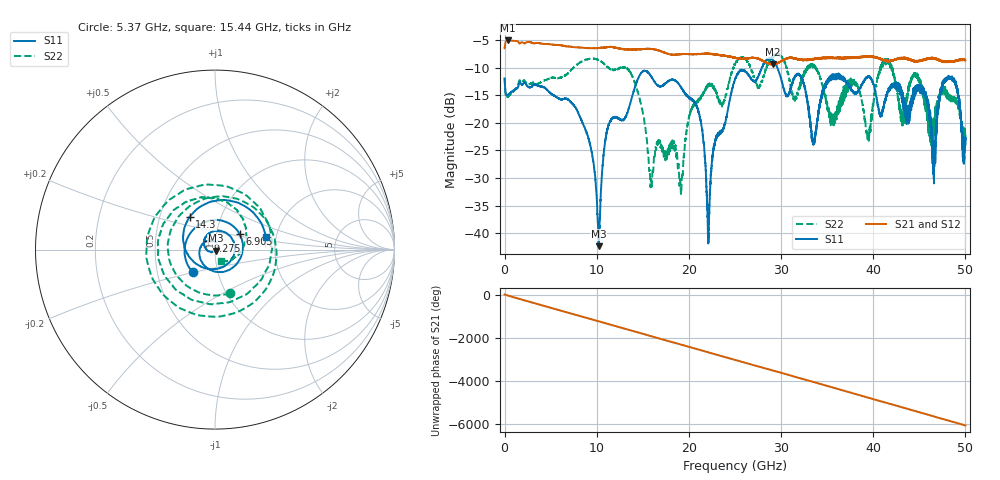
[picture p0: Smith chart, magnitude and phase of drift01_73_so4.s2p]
!Created with skrf (http://scikit-rf.org).
# Hz S RI R 50.0
!freq ReS11 ImS11 ReS21 ImS21 ReS12 ImS12 ReS22 ImS22
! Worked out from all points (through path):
!   10001 points, 300 kHz to 50 GHz, reference 50 ohm
!   highest |S21| = -5.05 dB at 335.3 MHz (marker M1); lowest = -9.4 dB at 29.11 GHz (marker M2)
!   group delay of S21, straight-line fit = 336 ps
!   lowest |S11| = -42.4 dB at 10.22 GHz (marker M3), VSWR 1.02, Z = 50.5 - j0.608 ohm
!   |S11| at or under -10 dB: start of sweep to 27.9 GHz; 29.5926 GHz to 29.59979 GHz (7.194 MHz wide, 0.0243 % of centre); 29.6 GHz to end of sweep
!   |S22| runs from -32.9 to -7.4 dB; largest |S21 - S12| = 0.014
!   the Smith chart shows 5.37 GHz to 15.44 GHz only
!   S11 on the Smith chart (normalised r, x): 5.37 GHz: 0.76, -0.20; 6.905 GHz: 1.30, +0.23; 9.275 GHz: 0.92, +0.09; 14.3 GHz: 0.71, +0.27; 15.44 GHz: 1.77, +0.26
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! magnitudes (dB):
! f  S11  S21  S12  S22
! 300 kHz  -12.0  -6.5  -6.5  -11.8
! 335.3 MHz  -15.0  -5.1  -5.1  -15.2
! 5.37 GHz  -15.0  -5.9  -5.9  -11.8
! 6.905 GHz  -15.8  -6.1  -6.1  -11.0
! 8.335 GHz  -19.5  -6.4  -6.3  -8.9
! 9.275 GHz  -24.0  -6.4  -6.4  -8.3
! 10.22 GHz  -42.4  -6.4  -6.4  -8.6
! 11.23 GHz  -20.7  -6.2  -6.3  -9.9
! 14.3 GHz  -12.8  -6.7  -6.7  -13.5
! 15.44 GHz  -10.7  -6.6  -6.6  -23.0
! 16.67 GHz  -13.3  -6.9  -6.9  -23.3
! 19.15 GHz  -13.5  -7.5  -7.5  -32.8
! 20.86 GHz  -17.1  -7.5  -7.5  -16.1
! 22.12 GHz  -41.5  -7.5  -7.5  -13.4
! 25 GHz  -12.1  -8.2  -8.2  -9.4
! 29.11 GHz  -8.6  -9.4  -9.4  -8.0
! 33.34 GHz  -22.5  -8.5  -8.4  -9.6
! 39.46 GHz  -11.6  -8.0  -8.0  -21.8
! 41.67 GHz  -13.7  -8.7  -8.7  -9.3
! 46.56 GHz  -26.0  -8.2  -8.2  -21.0
! 48.56 GHz  -12.0  -8.8  -8.9  -15.9
! 50 GHz  -22.8  -8.6  -8.6  -23.2
